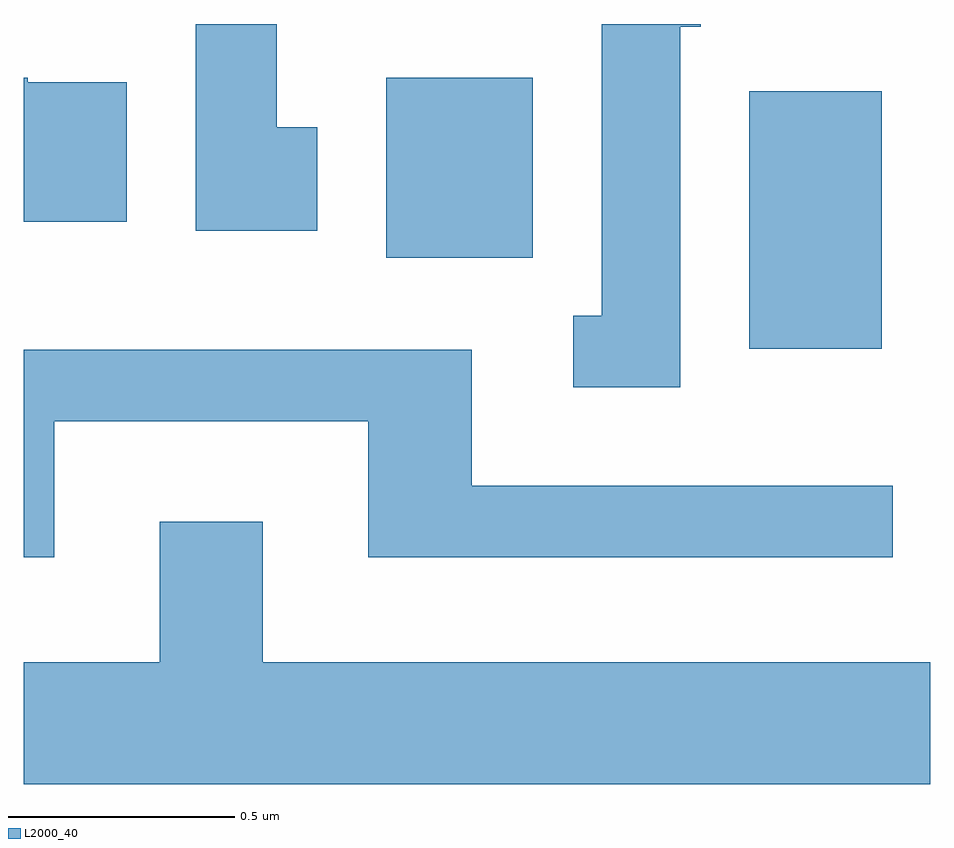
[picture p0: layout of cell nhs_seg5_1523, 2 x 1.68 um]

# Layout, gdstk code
import gdstk
lib = gdstk.Library(unit=1e-6, precision=1e-09)
def R(c, l, rs):  # rectangles x0, y0, x1, y1
    for r in rs: c.add(gdstk.rectangle(r[:2], r[2:], *l))
def P(c, l, *ps):  # polygons
    for p in ps: c.add(gdstk.Polygon(p, *l))
L2000_40 = (2000, 40)

nhs_seg5_1523 = lib.new_cell('nhs_seg5_1523')
R(nhs_seg5_1523, L2000_40, [(198.211,1413.356,198.504,1413.924), (197.411,1413.556,197.734,1413.954)])
P(nhs_seg5_1523, L2000_40, [(197.259,1413.844),(197.169,1413.844),(197.169,1414.072),(196.991,1414.072),(196.991,1413.616),(197.259,1413.616)],
  [(198.059,1414.066),(198.104,1414.066),(198.104,1414.072),(197.886,1414.072),(197.886,1413.429),(197.823,1413.429),(197.823,1413.271),(198.059,1413.271)],
  [(196.839,1413.944),(196.62,1413.944),(196.62,1413.954),(196.611,1413.954),(196.611,1413.636),(196.839,1413.636)],
  [(196.679,1413.196),(197.371,1413.196),(197.371,1412.896),(198.528,1412.896),(198.528,1413.054),(197.599,1413.054),(197.599,1413.354),(196.611,1413.354),(196.611,1412.896),(196.679,1412.896)],
  [(198.611,1412.664),(197.139,1412.664),(197.139,1412.974),(196.911,1412.974),(196.911,1412.664),(196.611,1412.664),(196.611,1412.396),(198.611,1412.396)])

lib.write_gds('nhs_seg5_1523.gds')
